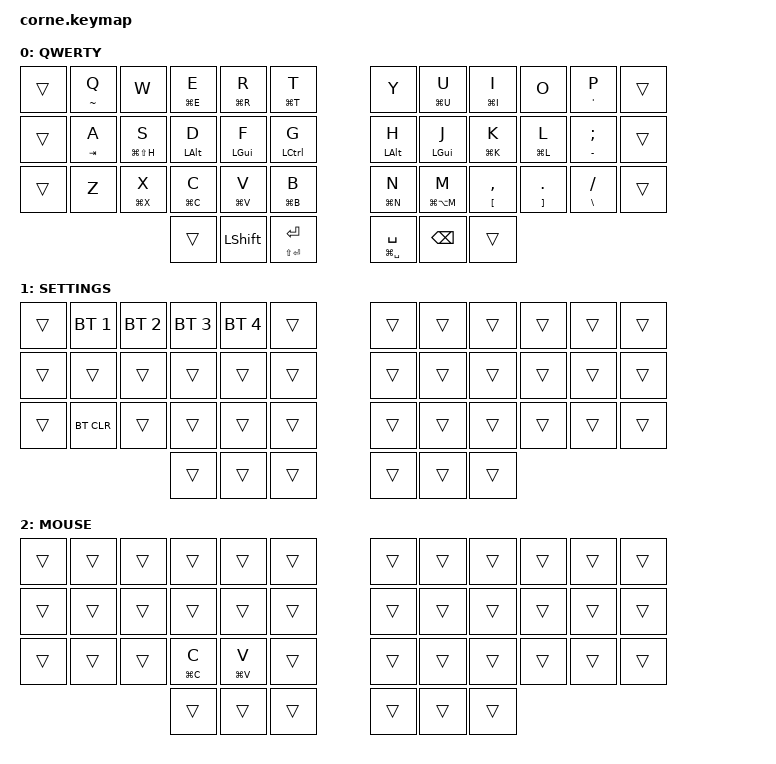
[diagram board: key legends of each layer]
/*
 * Copyright (c) 2020 The ZMK Contributors
 *
 * SPDX-License-Identifier: MIT
 */

#include <behaviors.dtsi>
#include <dt-bindings/zmk/bt.h>
#include <dt-bindings/zmk/keys.h>

&nice_view_spi { cs-gpios = <&pro_micro 10 GPIO_ACTIVE_HIGH>; };

/ {
    combos {
        compatible = "zmk,combos";

        combo_esc {
            timeout-ms = <25>;
            bindings = <&kp ESC>;
            key-positions = <1 2>;
        };

        combo_settings {
            timeout-ms = <25>;
            bindings = <&to 1>;
            key-positions = <38 37 29>;
        };

        combo_pp {
            timeout-ms = <25>;
            bindings = <&kp C_PP>;
            key-positions = <5 6>;
        };

        combo_left_parenthesis {
            timeout-ms = <25>;
            bindings = <&kp LEFT_PARENTHESIS>;
            key-positions = <7 8>;
        };

        combo_right_parenthesis {
            timeout-ms = <25>;
            bindings = <&kp RIGHT_PARENTHESIS>;
            key-positions = <8 9>;
        };

        combo_volume_up {
            timeout-ms = <25>;
            bindings = <&kp C_VOLUME_UP>;
            key-positions = <27 28>;
        };

        combo_volume_down {
            timeout-ms = <25>;
            bindings = <&kp C_VOLUME_DOWN>;
            key-positions = <25 26>;
        };

        combo_minus {
            timeout-ms = <30>;
            bindings = <&kp MINUS>;
            key-positions = <21 22>;
        };

        combo_plus {
            timeout-ms = <25>;
            bindings = <&kp PLUS>;
            key-positions = <22 34>;
        };

        combo_multiply {
            timeout-ms = <25>;
            bindings = <&kp ASTERISK>;
            key-positions = <33 22>;
        };

        combo_equal {
            timeout-ms = <25>;
            bindings = <&kp EQUAL>;
            key-positions = <33 34>;
        };

        combo_no1 {
            timeout-ms = <35>;
            bindings = <&kp NUMBER_1>;
            key-positions = <40 31>;
        };

        combo_no2 {
            timeout-ms = <35>;
            bindings = <&kp NUMBER_2>;
            key-positions = <40 32>;
        };

        combo_no3 {
            timeout-ms = <35>;
            bindings = <&kp NUMBER_3>;
            key-positions = <40 33>;
        };

        combo_no4 {
            timeout-ms = <35>;
            bindings = <&kp NUMBER_4>;
            key-positions = <40 19>;
        };

        combo_no5 {
            timeout-ms = <35>;
            bindings = <&kp NUMBER_5>;
            key-positions = <40 20>;
        };

        combo_no6 {
            timeout-ms = <35>;
            bindings = <&kp NUMBER_6>;
            key-positions = <40 21>;
        };

        combo_no7 {
            timeout-ms = <35>;
            bindings = <&kp NUMBER_7>;
            key-positions = <40 7>;
        };

        combo_no8 {
            timeout-ms = <35>;
            bindings = <&kp NUMBER_8>;
            key-positions = <40 8>;
        };

        combo_no9 {
            timeout-ms = <35>;
            bindings = <&kp NUMBER_9>;
            key-positions = <40 9>;
        };

        combo_no0 {
            timeout-ms = <35>;
            bindings = <&kp NUMBER_0>;
            key-positions = <40 10>;
        };

        combo_leftspace {
            timeout-ms = <30>;
            bindings = <&kp LC(LEFT)>;
            key-positions = <1 13>;
        };

        combo_rightspace {
            timeout-ms = <30>;
            bindings = <&kp LC(RIGHT)>;
            key-positions = <5 17>;
        };

        combo_nexttrack {
            timeout-ms = <30>;
            bindings = <&kp C_NEXT>;
            key-positions = <26 27 28>;
        };

        combo_prevtrack {
            timeout-ms = <30>;
            bindings = <&kp C_PREV>;
            key-positions = <25 26 27>;
        };

        combo_changelang {
            timeout-ms = <35>;
            bindings = <&kp LC(SPACE)>;
            key-positions = <17 18 19 16>;
        };

        combo_up {
            timeout-ms = <30>;
            bindings = <&kp UP>;
            key-positions = <3 16>;
        };

        combo_down {
            timeout-ms = <30>;
            bindings = <&kp DOWN>;
            key-positions = <15 28>;
        };

        combo_left {
            timeout-ms = <30>;
            bindings = <&kp LEFT>;
            key-positions = <15 14>;
        };

        combo_right {
            timeout-ms = <30>;
            bindings = <&kp RIGHT>;
            key-positions = <15 16>;
        };

        combo_spaces {
            timeout-ms = <30>;
            bindings = <&kp LC(UP)>;
            key-positions = <2 4>;
        };

        combo_to0 {
            timeout-ms = <20>;
            bindings = <&to 0>;
            key-positions = <37 38>;
        };

        combo_screenshot {
            timeout-ms = <35>;
            bindings = <&kp LG(LS(NUMBER_4))>;
            key-positions = <1 25 10 34>;
        };

        combo_cmd_left {
            timeout-ms = <35>;
            bindings = <&kp LG(LEFT)>;
            key-positions = <3 1>;
        };

        combo_cmd_right {
            timeout-ms = <35>;
            bindings = <&kp LG(RIGHT)>;
            key-positions = <3 5>;
        };

        combo_emoji {
            timeout-ms = <30>;
            bindings = <&kp LG(LC(SPACE))>;
            key-positions = <4 5 6 7>;
        };

        combo_macro_skmr {
            bindings = <&macro_skmr>;
            key-positions = <37 28 40 31>;
        };
    };

    behaviors {
        gqt: global-quick-tap {
            compatible = "zmk,behavior-hold-tap";
            label = "GLOBAL_QUICK_TAP";
            #binding-cells = <2>;
            flavor = "tap-preferred";
            tapping-term-ms = <200>;
            quick-tap-ms = <120>;
            global-quick-tap;
            bindings = <&kp>, <&kp>;
        };
    };

    macros {
        macro_skmr: macro_skmr {
            compatible = "zmk,behavior-macro";
            label = "MACRO_SKMR";
            #binding-cells = <0>;
            bindings = <&none &kp LS(I) &kp SPACE &kp F &kp E &kp E &kp L &kp SPACE &kp L &kp I &kp K &kp E &kp SPACE &kp W &kp E &kp SPACE &kp H &kp A &kp V &kp E &kp SPACE &kp G &kp O &kp N &kp E &kp SPACE &kp P &kp A &kp S &kp T &kp SPACE &kp S &kp O &kp C &kp I &kp A &kp L &kp SPACE &kp N &kp O &kp R &kp M &kp S &kp SPACE &kp H &kp A &kp H &kp H &kp A &kp A &kp H &kp A &kp H &kp H &kp H>;
        };
    };

    keymap {
        compatible = "zmk,keymap";

        QWERTY {
            // -----------------------------------------------------------------------------------------
            // |  TAB |  Q  |  W  |  E  |  R  |  T  |   |  Y  |  U   |  I  |  O  |  P  | BKSP |
            // | CTRL |  A  |  S  |  D  |  F  |  G  |   |  H  |  J   |  K  |  L  |  ;  |  '   |
            // | SHFT |  Z  |  X  |  C  |  V  |  B  |   |  N  |  M   |  ,  |  .  |  /  | ESC  |
            //                    | GUI | LWR | SPC |   | ENT | RSE  | ALT |

            bindings = <
&trans  &gqt TILDE Q  &kp W             &gqt LG(E) E  &gqt LG(R) R    &gqt LG(T) T          &kp Y                 &gqt LG(U) U      &gqt LG(I) I             &kp O                      &gqt SQT P       &trans
&trans  &gqt TAB A    &gqt LG(LS(H)) S  &gqt LALT D   &gqt LGUI F     &gqt LCTRL G          &gqt LALT H           &gqt LGUI J       &gqt LG(K) K             &gqt LG(L) L               &gqt MINUS SEMI  &trans
&trans  &kp Z         &gqt LG(X) X      &gqt LG(C) C  &gqt LG(V) V    &gqt LG(B) B          &gqt LG(N) N          &gqt LG(LA(M)) M  &gqt LEFT_BRACKET COMMA  &gqt RIGHT_BRACKET PERIOD  &gqt BSLH FSLH   &trans
                                        &trans        &kp LEFT_SHIFT  &gqt LS(ENTER) ENTER  &gqt LG(SPACE) SPACE  &kp BACKSPACE     &trans
            >;
        };

        SETTINGS {
            // -----------------------------------------------------------------------------------------
            // |  TAB |  1  |  2  |  3  |  4  |  5  |   |  6  |  7  |  8  |  9  |  0  | BKSP |
            // | BTCLR| BT1 | BT2 | BT3 | BT4 | BT5 |   | LFT | DWN |  UP | RGT |     |      |
            // | SHFT |     |     |     |     |     |   |     |     |     |     |     |      |
            //                    | GUI |     | SPC |   | ENT |     | ALT |

            bindings = <
&trans  &bt BT_SEL 1  &bt BT_SEL 2  &bt BT_SEL 3  &bt BT_SEL 4  &trans  &trans  &trans  &trans  &trans  &trans  &trans
&trans  &trans        &trans        &trans        &trans        &trans  &trans  &trans  &trans  &trans  &trans  &trans
&trans  &bt BT_CLR    &trans        &trans        &trans        &trans  &trans  &trans  &trans  &trans  &trans  &trans
                                    &trans        &trans        &trans  &trans  &trans  &trans
            >;
        };

        MOUSE {
            // -----------------------------------------------------------------------------------------
            // |  TAB |  !  |  @  |  #  |  $  |  %  |   |  ^  |  &  |  *  |  (  |  )  | BKSP |
            // | CTRL |     |     |     |     |     |   |  -  |  =  |  [  |  ]  |  \  |  `   |
            // | SHFT |     |     |     |     |     |   |  _  |  +  |  {  |  }  | "|" |  ~   |
            //                    | GUI |     | SPC |   | ENT |     | ALT |

            bindings = <
&trans  &trans  &trans  &trans        &trans        &trans  &trans  &trans  &trans  &trans  &trans  &trans
&trans  &trans  &trans  &trans        &trans        &trans  &trans  &trans  &trans  &trans  &trans  &trans
&trans  &trans  &trans  &gqt LG(C) C  &gqt LG(V) V  &trans  &trans  &trans  &trans  &trans  &trans  &trans
                        &trans        &trans        &trans  &trans  &trans  &trans
            >;
        };
    };
};
